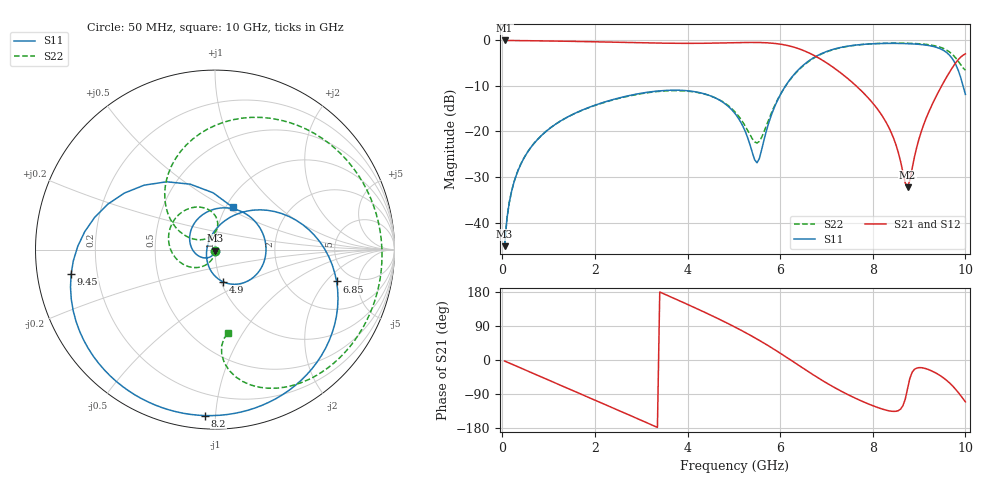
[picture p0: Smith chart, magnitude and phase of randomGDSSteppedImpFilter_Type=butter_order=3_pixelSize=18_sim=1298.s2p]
! freq	dB(S11)	phase(S11)	dB(S12)	phase(S12)
!  dB(S21)	phase(S21)	dB(S22)	phase(S22)
!S-par simulation data
#  GHz  S  DB  R 50
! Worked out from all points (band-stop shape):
!   200 points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, 50 MHz to 10 GHz, reference 50 ohm
!   highest |S21| = 0.00 dB at 50 MHz (marker M1); lowest = -32.3 dB at 8.75 GHz (marker M2)
!   |S21| within 3 dB of the highest: start of sweep to 6.676 GHz; 9.990599 GHz to end of sweep
!   lowest |S11| = -45.2 dB at 50 MHz (marker M3), VSWR 1.01, Z = 50 - j0.548 ohm
!   |S11| at or under -10 dB: start of sweep to 6.116 GHz; 9.950283 GHz to end of sweep
!   |S22| runs from -45.1 to -0.6 dB; largest |S21 - S12| = 0
!   S11 on the Smith chart (normalised r, x): 50 MHz: 1.00, -0.01; 4.9 GHz: 1.02, -0.38; 6.85 GHz: 3.76, -2.62; 8.2 GHz: 0.07, -0.94; 9.45 GHz: 0.10, -0.08; 10 GHz: 1.08, +0.54
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0.05  -45.20 -93.0  -0.00 -2.7  -0.00 -2.7  -45.14 -90.9
0.2  -33.17 -104.8  -0.01 -10.7  -0.01 -10.7  -33.12 -96.5
0.5  -25.29 -127.3  -0.05 -26.5  -0.05 -26.5  -25.25 -106.6
1.15  -18.40 -175.9  -0.14 -60.9  -0.14 -60.9  -18.40 -127.8
1.75  -15.19 139.3  -0.24 -92.6  -0.24 -92.6  -15.24 -146.5
2.65  -12.32 73.4  -0.43 -140.4  -0.43 -140.4  -12.41 -175.9
3.4  -11.07 22.1  -0.58 179.4  -0.58 179.4  -11.18 155.8
4.1  -11.17 -22.8  -0.64 141.2  -0.64 141.2  -11.25 125.4
4.9  -14.68 -76.1  -0.52 94.7  -0.52 94.7  -14.49 89.6
5.05  -16.39 -88.5  -0.48 85.3  -0.48 85.3  -15.98 85.1
5.5  -26.88 168.0  -0.44 55.4  -0.44 55.4  -22.53 117.7
6.1  -10.25 45.7  -0.99 10.2  -0.99 10.2  -10.27 145.2
6.7  -3.94 -3.6  -3.12 -38.0  -3.12 -38.0  -4.04 101.4
6.85  -3.09 -14.7  -3.96 -49.5  -3.96 -49.5  -3.19 89.7
7.4  -1.35 -50.8  -7.87 -87.4  -7.87 -87.4  -1.40 49.7
8.2  -0.66 -93.5  -16.51 -129.3  -16.51 -129.3  -0.63 1.0
8.35  -0.64 -100.9  -19.18 -134.1  -19.18 -134.1  -0.60 -7.1
8.75  -0.70 -121.4  -32.29 -75.7  -32.29 -75.7  -0.62 -28.1
9.05  -0.90 -138.8  -19.94 -20.3  -19.94 -20.3  -0.77 -43.7
9.45  -1.79 -170.3  -10.68 -40.7  -10.68 -40.7  -1.46 -66.0
9.8  -5.46 137.7  -4.80 -78.9  -4.80 -78.9  -3.96 -85.3
10  -11.85 67.1  -2.95 -110.4  -2.95 -110.4  -6.56 -81.0
